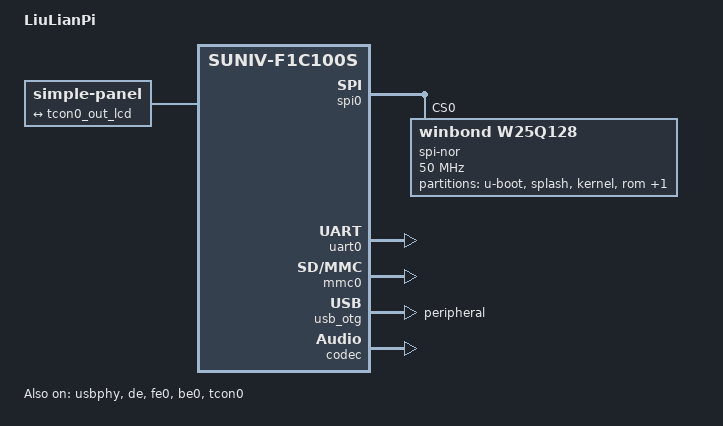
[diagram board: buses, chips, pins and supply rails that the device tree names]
// SPDX-License-Identifier: (GPL-2.0+ OR X11)

/dts-v1/;
#include "suniv-f1c100s.dtsi"
#include <dt-bindings/gpio/gpio.h>

/ {
	model = "LiuLianPi";
	compatible = "allwinner,suniv-f1c200s",
		     "allwinner,suniv-f1c100s";

	chosen {
		#address-cells = <1>;
		#size-cells = <1>;
		ranges;

		bootargs = "console=tty0 console=ttyS0,115200 earlyprintk rootwait init=/preinit root=/dev/mtdblock3 rootfstype=squashfs overlayfsdev=/dev/mtdblock4";
	};

	/* Filled in by U-Boot (sunxi_display.c simplefb support) when the
	 * 1024x600 LCD console is set up, so the kernel gets a framebuffer
	 * before the sun4i DRM driver takes over */
	framebuffer {
		compatible = "allwinner,simple-framebuffer",
			     "simple-framebuffer";
		allwinner,pipeline = "de_be0-lcd0";
		status = "disabled";
	};

	panel: panel {
		compatible = "simple-panel";
		#address-cells = <1>;
		#size-cells = <0>;

		panel-timing {
			clock-frequency = <40000000>;
			hactive = <1024>;
			vactive = <600>;
			hfront-porch = <150>;
			hback-porch = <150>;
			hsync-len = <20>;
			vfront-porch = <15>;
			vback-porch = <15>;
			vsync-len = <5>;
			hsync-active = <1>;
			vsync-active = <1>;
		};

		port@0 {
			reg = <0>;
			#address-cells = <1>;
			#size-cells = <0>;

			panel_input: endpoint@0 {
				reg = <0>;
				remote-endpoint = <&tcon0_out_lcd>;
			};
		};
	};
};

&pio {
	lcd_rgb666_pins: lcd-rgb666-pins {
		pins = "PD0", "PD1", "PD2", "PD3", "PD4", "PD5",
		       "PD6", "PD7", "PD8", "PD9", "PD10", "PD11",
		       "PD12", "PD13", "PD14", "PD15", "PD16", "PD17",
		       "PD18", "PD19", "PD20", "PD21";
		function = "lcd";
	};
};

&spi0 {
	status = "okay";

	spi-nor@0 {
		#address-cells = <1>;
		#size-cells = <1>;
		compatible = "winbond,w25q128", "jedec,spi-nor";
		reg = <0>;
		spi-max-frequency = <50000000>;

		partitions {
			compatible = "fixed-partitions";
			#address-cells = <1>;
			#size-cells = <1>;

			partition@0 {
				label = "u-boot";
				reg = <0x000000 0x80000>;
				read-only;
			};

			partition@1 {
				label = "splash";
				reg = <0x80000 0x80000>;
				read-only;
			};

			partition@2 {
				label = "kernel";
				reg = <0x100000 0x500000>;
				read-only;
			};

			partition@3 {
				label = "rom";
				reg = <0x600000 0x700000>;
				read-only;
			};

			partition@4 {
				label = "overlay";
				reg = <0xd00000 0x300000>;
			};
		};
	};
};

&uart0 {
	pinctrl-names = "default";
	pinctrl-0 = <&uart0_pe_pins>;
	status = "okay";
};

&mmc0 {
	status = "okay";
	broken-cd;
};

&otg_sram {
	status = "okay";
};

&usb_otg {
	dr_mode = "peripheral";
	status = "okay";
};

&usbphy {
	status = "okay";
};

&de {
	status = "okay";
};

&fe0 {
	status = "okay";
};

&be0 {
	status = "okay";
};

&tcon0 {
	pinctrl-names = "default";
	pinctrl-0 = <&lcd_rgb666_pins>;
	status = "okay";
};

&tcon0_out {
	tcon0_out_lcd: endpoint@0 {
		reg = <0>;
		remote-endpoint = <&panel_input>;
	};
};

&codec {
	allwinner,audio-routing =
		"Headphone", "HP",
		"Headphone", "HPCOM",
		"LINEIN", "Line In",
		"FMINL", "Left FM In",
		"FMINR", "Right FM In",
		"MIC", "Mic";
	status = "okay";
};
